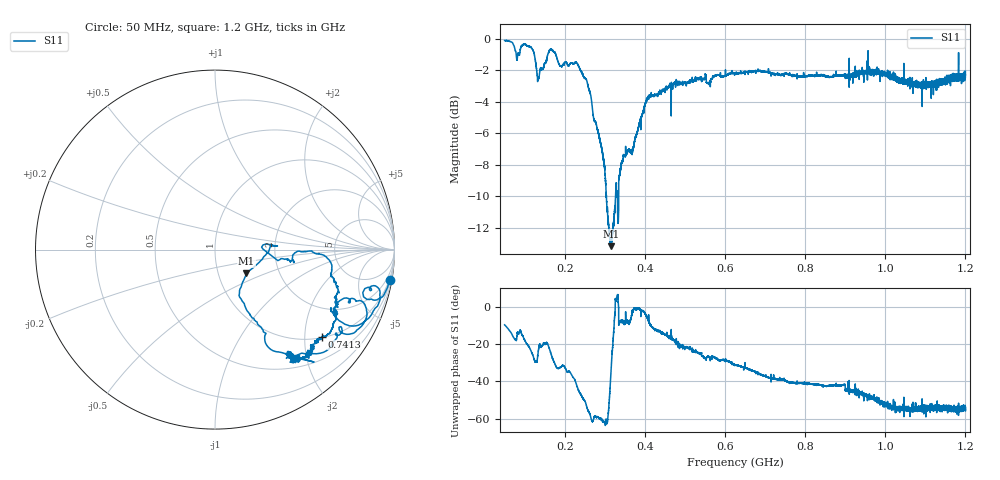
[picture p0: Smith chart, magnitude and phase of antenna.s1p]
! Calibrated NanoVNA antenna measurement, band-limited to the calibrated dynamic range
! Samples with nonfinite or |Gamma| >= 1 were excluded; see broadband-excluded.json
# Hz S RI R 50
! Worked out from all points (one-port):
!   40000 points, 50 MHz to 1.2 GHz, reference 50 ohm
!   lowest |S11| = -13.2 dB at 315 MHz (marker M1), VSWR 1.56, Z = 68.3 - j18.9 ohm
!   |S11| at or under -10 dB: 303.9 MHz to 326.8 MHz (22.95 MHz wide, 7.28 % of centre); 329.6822 MHz to 329.8509 MHz (168.6 kHz wide, 0.0511 % of centre); 331.8 MHz to 334.6 MHz (2.881 MHz wide, 0.865 % of centre)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
!   S11 on the Smith chart (normalised r, x): 50 MHz: 1, -12; 741.3 MHz: 1.03, -2.43; 1.2 GHz: 0.51, -1.77
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5e7  0.9726 -0.1681
7.371875e7  0.9067 -0.2773
8.14525e7  0.8351 -0.2152
9.510875e7  0.9195 -0.2585
1.102025e8  0.8813 -0.343
1.242325e8  0.7822 -0.4264
1.31765e8  0.6665 -0.3551
1.49935e8  0.7854 -0.2853
1.620962e8  0.8469 -0.3549
1.765575e8  0.7691 -0.4653
1.9375e8  0.695 -0.4315
2.261225e8  0.6476 -0.5375
2.599325e8  0.3864 -0.5783
2.9472e8  0.2046 -0.3775
3.063925e8  0.1345 -0.2524
3.149888e8  0.1755 -0.1316
3.2876e8  0.3465 0.02
3.375e8  0.3684 -0.0496
3.450325e8  0.4077 -0.0549
3.838738e8  0.5211 -0.00892
4.07765e8  0.648 -0.0786
4.8125e8  0.6819 -0.2435
6.25e8  0.6636 -0.4026
7.41265e8  0.5959 -0.4842
7.6875e8  0.5797 -0.499
9.125e8  0.5397 -0.5351
1.05625e9  0.4084 -0.5967
1.2e9  0.4436 -0.6525
